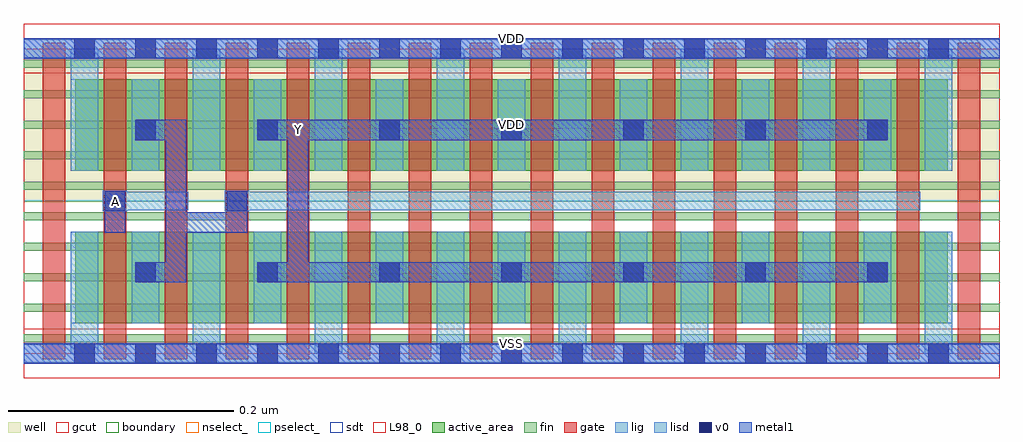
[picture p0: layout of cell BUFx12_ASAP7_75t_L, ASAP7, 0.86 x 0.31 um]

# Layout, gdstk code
import gdstk
lib = gdstk.Library(unit=1e-6, precision=2.5e-10)
def R(c, l, rs):  # rectangles x0, y0, x1, y1
    for r in rs: c.add(gdstk.rectangle(r[:2], r[2:], *l))
def A(c, l, x, y, w, h, nx, ny, dx, dy):  # array of equal rectangles
    R(c, l, [(x+i*dx, y+j*dy, x+i*dx+w, y+j*dy+h) for i in range(nx) for j in range(ny)])
def P(c, l, *ps):  # polygons
    for p in ps: c.add(gdstk.Polygon(p, *l))
well = (1, 0)
fin = (2, 0)
gate = (7, 0)
gcut = (10, 0)
active_area = (11, 0)
nselect_ = (12, 0)
pselect_ = (13, 0)
lig = (16, 0)
lisd = (17, 0)
v0 = (18, 0)
metal1 = (19, 0)
sdt = (88, 0)
L98_0 = (98, 0)
boundary = (100, 0)

bufx12_asap7_75t_l = lib.new_cell('BUFx12_ASAP7_75t_L')
R(bufx12_asap7_75t_l, well, [(0,0.135,0.864,0.27)])
A(bufx12_asap7_75t_l, fin, 0, 0.01, 0.864, 0.007, 1, 10, 0, 0.027)
A(bufx12_asap7_75t_l, gate, 0.017, -0.005, 0.02, 0.28, 16, 1, 0.054, 0)
R(bufx12_asap7_75t_l, gcut, [(0,-0.022,0.864,0.022), (0,0.248,0.864,0.292)])
R(bufx12_asap7_75t_l, active_area, [(0.046,0.027,0.818,0.108), (0.046,0.162,0.818,0.243)])
R(bufx12_asap7_75t_l, nselect_, [(0,0,0.864,0.135)])
R(bufx12_asap7_75t_l, pselect_, [(0,0.135,0.864,0.27)])
R(bufx12_asap7_75t_l, lig, [(0,-0.008,0.864,0.008), (0.07,0.126,0.092,0.144), (0.178,0.126,0.2,0.144), (0.07,0.127,0.146,0.143), (0.178,0.127,0.794,0.143), (0,0.262,0.864,0.278)])
A(bufx12_asap7_75t_l, lisd, 0.096, 0.027, 0.024, 0.081, 7, 2, 0.108, 0.135)
R(bufx12_asap7_75t_l, lisd, [(0.042,0,0.066,0.108), (0.042,0,0.066,0.108), (0.15,0,0.174,0.108), (0.15,0,0.174,0.108), (0.258,0,0.282,0.108), (0.258,0,0.282,0.108), (0.366,0,0.39,0.108), (0.366,0,0.39,0.108), (0.474,0,0.498,0.108), (0.474,0,0.498,0.108), (0.582,0,0.606,0.108), (0.582,0,0.606,0.108), (0.69,0,0.714,0.108), (0.69,0,0.714,0.108), (0.798,0,0.822,0.108), (0.798,0,0.822,0.108), (0.042,0.162,0.066,0.27), (0.042,0.162,0.066,0.27), (0.15,0.162,0.174,0.27), (0.15,0.162,0.174,0.27), (0.258,0.162,0.282,0.27), (0.258,0.162,0.282,0.27), (0.366,0.162,0.39,0.27), (0.366,0.162,0.39,0.27), (0.474,0.162,0.498,0.27), (0.474,0.162,0.498,0.27), (0.582,0.162,0.606,0.27), (0.582,0.162,0.606,0.27), (0.69,0.162,0.714,0.27), (0.69,0.162,0.714,0.27), (0.798,0.162,0.822,0.27), (0.798,0.162,0.822,0.27)])
A(bufx12_asap7_75t_l, v0, 0.045, -0.009, 0.018, 0.018, 15, 2, 0.054, 0.27)
A(bufx12_asap7_75t_l, v0, 0.099, 0.063, 0.018, 0.018, 7, 2, 0.108, 0.126)
R(bufx12_asap7_75t_l, v0, [(0.072,0.126,0.09,0.144), (0.18,0.126,0.198,0.144)])
A(bufx12_asap7_75t_l, metal1, 0.099, 0.063, 0.018, 0.018, 7, 2, 0.108, 0.126)
R(bufx12_asap7_75t_l, metal1, [(0,-0.009,0.864,0.009), (0.072,0.107,0.09,0.144), (0.072,0.126,0.09,0.144), (0.18,0.126,0.198,0.144), (0,0.261,0.864,0.279)])
P(bufx12_asap7_75t_l, metal1, [(0.198,0.144),(0.18,0.144),(0.18,0.125),(0.144,0.125),(0.144,0.207),(0.099,0.207),(0.099,0.189),(0.126,0.189),(0.126,0.081),(0.099,0.081),(0.099,0.063),(0.144,0.063),(0.144,0.107),(0.198,0.107)],
  [(0.765,0.207),(0.207,0.207),(0.207,0.189),(0.234,0.189),(0.234,0.081),(0.207,0.081),(0.207,0.063),(0.765,0.063),(0.765,0.081),(0.252,0.081),(0.252,0.189),(0.765,0.189)])
A(bufx12_asap7_75t_l, sdt, 0.042, 0.027, 0.024, 0.081, 3, 2, 0.054, 0.135)
A(bufx12_asap7_75t_l, sdt, 0.15, 0.027, 0.024, 0.081, 3, 2, 0.054, 0.135)
A(bufx12_asap7_75t_l, sdt, 0.258, 0.027, 0.024, 0.081, 3, 2, 0.054, 0.135)
A(bufx12_asap7_75t_l, sdt, 0.366, 0.027, 0.024, 0.081, 3, 2, 0.054, 0.135)
A(bufx12_asap7_75t_l, sdt, 0.474, 0.027, 0.024, 0.081, 3, 2, 0.054, 0.135)
A(bufx12_asap7_75t_l, sdt, 0.582, 0.027, 0.024, 0.081, 3, 2, 0.054, 0.135)
A(bufx12_asap7_75t_l, sdt, 0.69, 0.027, 0.024, 0.081, 3, 2, 0.054, 0.135)
R(bufx12_asap7_75t_l, sdt, [(0.042,0.027,0.066,0.108), (0.798,0.027,0.822,0.108), (0.042,0.162,0.066,0.243), (0.798,0.162,0.822,0.243)])
R(bufx12_asap7_75t_l, L98_0, [(0,0,0.864,0.27)])
R(bufx12_asap7_75t_l, boundary, [(0,0,0.864,0.27)])
bufx12_asap7_75t_l.add(gdstk.Label('VDD', (0.432,0.2025), layer=1, texttype=251))
bufx12_asap7_75t_l.add(gdstk.Label('VSS', (0.432,-0.0675), layer=3, texttype=251))
bufx12_asap7_75t_l.add(gdstk.Label('VSS', (0.432,0.009), layer=19, texttype=251))
bufx12_asap7_75t_l.add(gdstk.Label('VDD', (0.432,0.279), layer=19, texttype=251))
bufx12_asap7_75t_l.add(gdstk.Label('A', (0.081,0.135), layer=19, texttype=251))
bufx12_asap7_75t_l.add(gdstk.Label('Y', (0.243,0.198), layer=19, texttype=251))

lib.write_gds('BUFx12_ASAP7_75t_L.gds')
